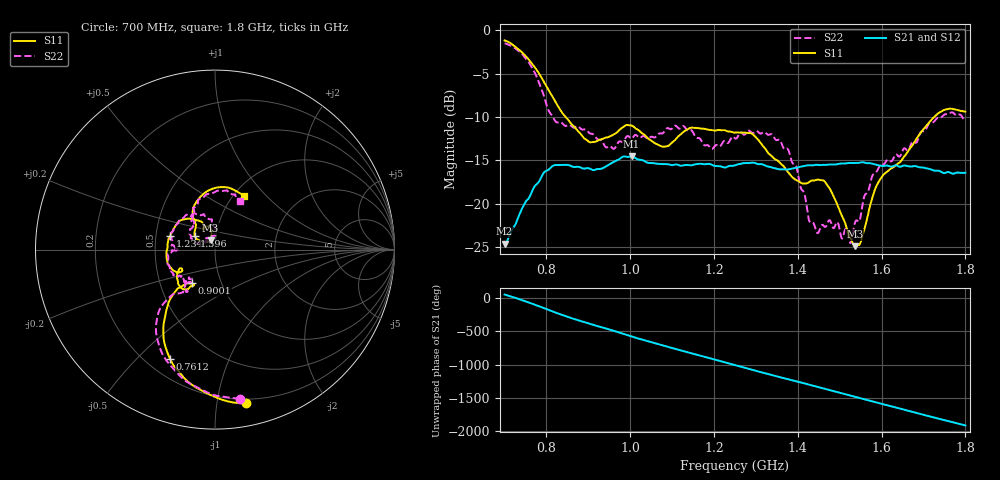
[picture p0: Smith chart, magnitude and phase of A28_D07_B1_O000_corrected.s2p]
! Created with skrf 1.9.0 (http://scikit-rf.org).
# Hz S RI R 50.0
!freq ReS11 ImS11 ReS21 ImS21 ReS12 ImS12 ReS22 ImS22
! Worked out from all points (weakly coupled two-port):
!   1601 points, 700 MHz to 1.8 GHz, reference 50 ohm
!   highest |S21| = -14.52 dB at 1.003 GHz (marker M1); lowest = -24.6 dB at 700 MHz (marker M2)
!   lowest |S11| = -24.9 dB at 1.536 GHz (marker M3), VSWR 1.12, Z = 47.4 + j4.89 ohm
!   |S11| at or under -10 dB: 846 MHz to 1.725 GHz (879.3 MHz wide, 68.4 % of centre)
!   |S22| runs from -24.5 to -1.5 dB; largest |S21 - S12| = 0.0035
!   S11 on the Smith chart (normalised r, x): 700 MHz: 0.17, -1.21; 761.2 MHz: 0.29, -0.63; 900.1 MHz: 0.72, -0.29; 1.234 GHz: 0.59, +0.10; 1.596 GHz: 0.79, +0.13; 1.8 GHz: 1.12, +0.76
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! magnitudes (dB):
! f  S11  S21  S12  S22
! 700 MHz  -1.2  -24.6  -24.4  -1.5
! 761.2 MHz  -3.6  -19.1  -18.9  -4.0
! 819.6 MHz  -8.1  -15.5  -15.6  -10.4
! 883.6 MHz  -12.1  -15.9  -15.8  -11.4
! 900.1 MHz  -12.8  -15.9  -15.9  -11.7
! 959.2 MHz  -12.0  -15.2  -15.2  -13.7
! 1.003 GHz  -11.0  -14.5  -14.6  -12.5
! 1.067 GHz  -13.2  -15.4  -15.4  -12.0
! 1.145 GHz  -11.2  -15.6  -15.6  -11.5
! 1.234 GHz  -11.7  -15.7  -15.7  -13.0
! 1.25 GHz  -11.8  -15.6  -15.5  -12.5
! 1.357 GHz  -15.3  -16.0  -16.0  -12.7
! 1.396 GHz  -17.3  -15.9  -15.8  -15.6
! 1.434 GHz  -17.3  -15.6  -15.5  -22.1
! 1.473 GHz  -18.0  -15.5  -15.5  -22.0
! 1.525 GHz  -23.9  -15.3  -15.3  -24.5
! 1.536 GHz  -24.9  -15.3  -15.3  -22.2
! 1.55 GHz  -24.4  -15.2  -15.3  -21.3
! 1.596 GHz  -17.2  -15.6  -15.6  -15.6
! 1.617 GHz  -16.1  -15.7  -15.6  -15.0
! 1.734 GHz  -9.6  -16.2  -16.2  -10.1
! 1.8 GHz  -9.4  -16.4  -16.4  -10.3
